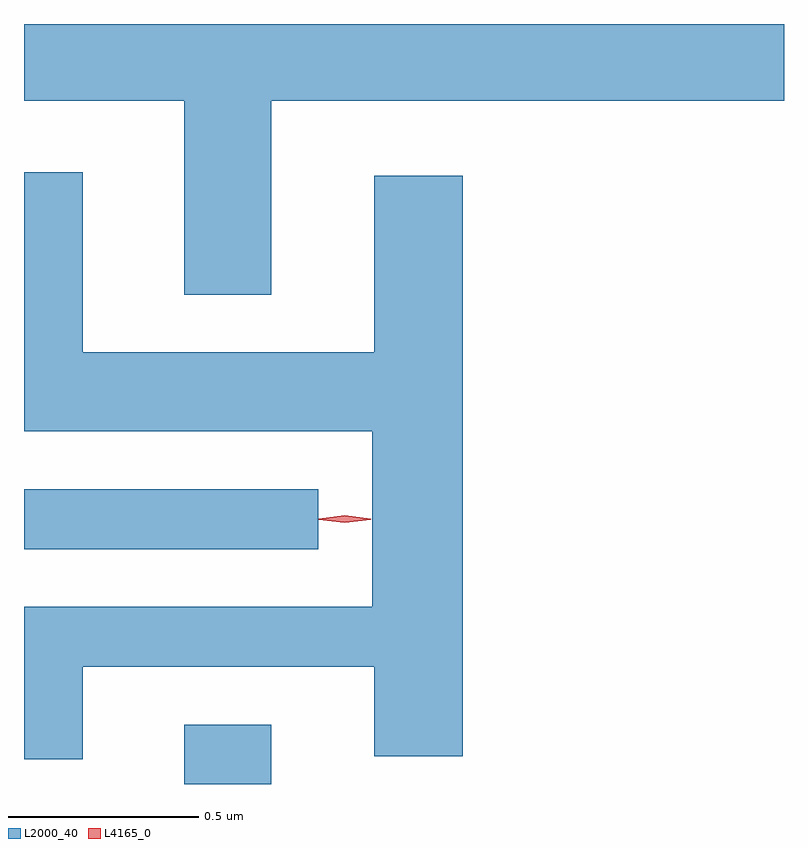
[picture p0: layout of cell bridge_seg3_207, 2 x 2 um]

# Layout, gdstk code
import gdstk
lib = gdstk.Library(unit=1e-6, precision=1e-09)
def R(c, l, rs):  # rectangles x0, y0, x1, y1
    for r in rs: c.add(gdstk.rectangle(r[:2], r[2:], *l))
def P(c, l, *ps):  # polygons
    for p in ps: c.add(gdstk.Polygon(p, *l))
L2000_40 = (2000, 40)
L4165_0 = (4165, 0)

bridge_seg3_207 = lib.new_cell('bridge_seg3_207')
R(bridge_seg3_207, L2000_40, [(1064.651,1184.158,1064.879,1184.314), (1064.229,1184.776,1065.003,1184.934)])
P(bridge_seg3_207, L2000_40, [(1064.879,1185.956),(1066.229,1185.956),(1066.229,1186.158),(1064.229,1186.158),(1064.229,1185.956),(1064.651,1185.956),(1064.651,1185.446),(1064.879,1185.446)],
  [(1064.384,1184.466),(1065.151,1184.466),(1065.151,1184.231),(1065.384,1184.231),(1065.384,1185.759),(1065.151,1185.759),(1065.151,1185.294),(1064.384,1185.294),(1064.384,1185.768),(1064.229,1185.768),(1064.229,1185.086),(1065.146,1185.086),(1065.146,1184.624),(1064.229,1184.624),(1064.229,1184.223),(1064.384,1184.223)])
P(bridge_seg3_207, L4165_0, [(1065.073,1184.845),(1065.007,1184.854),(1065.007,1184.855),(1065.007,1184.856),(1065.073,1184.865),(1065.139,1184.856),(1065.139,1184.855),(1065.139,1184.854)],
  [(1065.073,1184.845),(1065.004,1184.854),(1065.004,1184.855),(1065.004,1184.856),(1065.073,1184.865),(1065.142,1184.856),(1065.142,1184.855),(1065.142,1184.854)])

lib.write_gds('bridge_seg3_207.gds')
